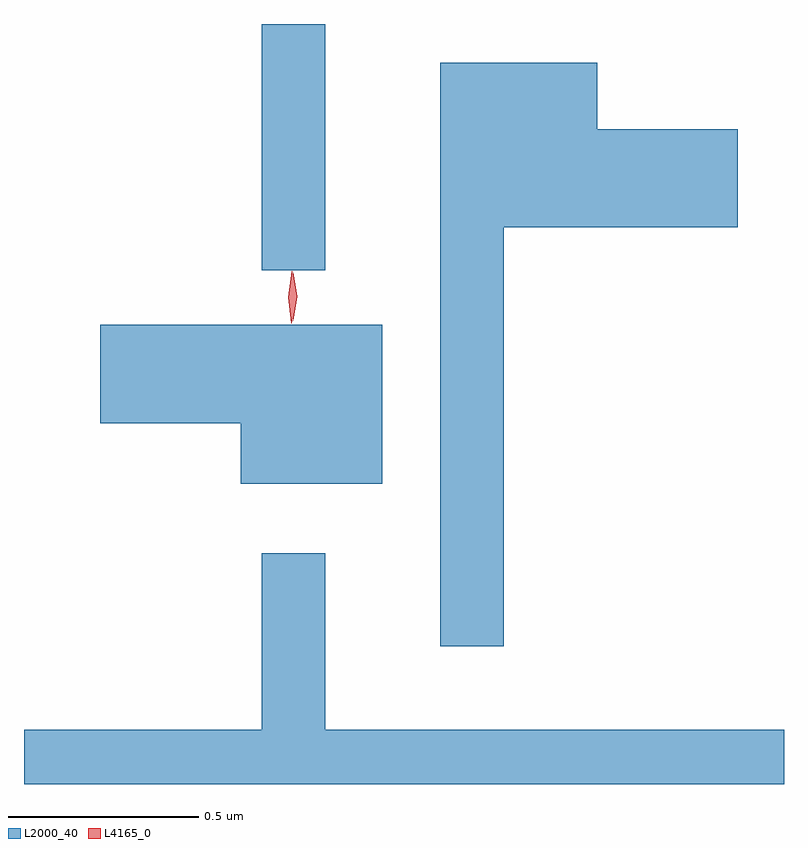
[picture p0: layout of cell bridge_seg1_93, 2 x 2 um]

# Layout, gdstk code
import gdstk
lib = gdstk.Library(unit=1e-6, precision=1e-09)
def R(c, l, rs):  # rectangles x0, y0, x1, y1
    for r in rs: c.add(gdstk.rectangle(r[:2], r[2:], *l))
def P(c, l, *ps):  # polygons
    for p in ps: c.add(gdstk.Polygon(p, *l))
L2000_40 = (2000, 40)
L4165_0 = (4165, 0)

bridge_seg1_93 = lib.new_cell('bridge_seg1_93')
R(bridge_seg1_93, L2000_40, [(1230.631,874.413,1230.799,875.061)])
P(bridge_seg1_93, L2000_40, [(1231.269,874.526),(1231.884,874.526),(1231.884,874.784),(1231.514,874.784),(1231.514,874.959),(1231.101,874.959),(1231.101,873.423),(1231.269,873.423)],
  [(1230.949,874.269),(1230.206,874.269),(1230.206,874.011),(1230.576,874.011),(1230.576,873.851),(1230.949,873.851)],
  [(1232.006,873.204),(1230.799,873.204),(1230.799,873.668),(1230.631,873.668),(1230.631,873.204),(1230.006,873.204),(1230.006,873.061),(1232.006,873.061)])
P(bridge_seg1_93, L4165_0, [(1230.709,874.274),(1230.701,874.342),(1230.711,874.41),(1230.712,874.41),(1230.712,874.41),(1230.72,874.342),(1230.71,874.274),(1230.71,874.274)],
  [(1230.714,874.28),(1230.705,874.344),(1230.714,874.406),(1230.715,874.407),(1230.715,874.406),(1230.725,874.344),(1230.715,874.28),(1230.715,874.28)])

lib.write_gds('bridge_seg1_93.gds')
